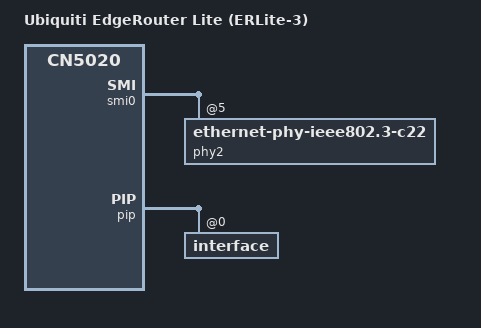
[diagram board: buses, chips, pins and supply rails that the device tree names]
// SPDX-License-Identifier: GPL-2.0-only
/*
 * Device tree source for Ubiquiti EdgeRouter Lite
 */

#include "cn5020_ubnt_e100.dtsi"

/ {
	/* E102 */
	compatible = "ubnt,erlite-3", "ubnt,e100", "cavium,cn5020";
	model = "Ubiquiti EdgeRouter Lite (ERLite-3)";
};

&smi0 {
	phy2: ethernet-phy@5 {
		reg = <5>;
		compatible = "ethernet-phy-ieee802.3-c22";
	};
};

&eth0 {
	label = "eth0";
};

&eth1 {
	label = "eth1";
};

&pip {
	interface@0 {
		eth2: ethernet@2 {
			phy-handle = <&phy2>;
			rx-delay = <0>;
			tx-delay = <0x10>;

			label = "eth2";
			nvmem-cells = <&macaddr_eeprom_0 2>;
			nvmem-cell-names = "mac-address";
		};
	};
};
